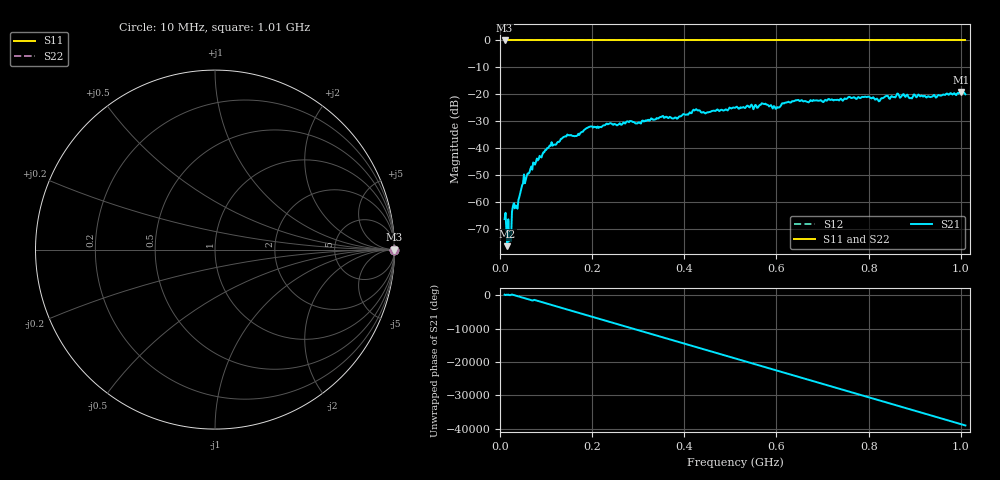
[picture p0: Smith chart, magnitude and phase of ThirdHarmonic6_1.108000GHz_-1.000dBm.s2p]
! 8/16/2025 10:30:50 AM
! C:\ANRITSUVNA\TEMP\TEMP.S2P
! CHANNEL.1
! TR.MEASUREMENT
! RAW.DATA
! RF.CORRECTION.OFF
! AVERAGING.OFF
! IF.BANDWIDTH: 5KHZ
! SWEEPTYPE:  FREQ.SWEEP(Linear)
! Reference Plane Port Info
! PORT:  PORT1  PORT2
! DISTANCE:  0  m  0  m
! TIME:  0  s  0  s
! PHASE.OFFSET:  0  deg.  0  deg.
! LOSS:  0  dB  0  dB
! REF.LOSS:  0  dB  0  dB
! REF.FREQ:  0  Hz  0  Hz
! Power Info
! POWER:  -20  dBm  -20  dBm
! EFF.POWER:  -20  dBm  -20  dBm
! SOURCE.ATTEN:  0  dB  0  dB
! TEST.ATTEN:  0  dB  0  dB
# GHZ S RI R 50.0
! FREQ.GHZ  S11RE  S11IM  S21RE  S21IM  S12RE  S12IM  S22RE  S22IM
!; PortSelection: Port_12
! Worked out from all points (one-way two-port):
!   501 points, 10 MHz to 1.01 GHz, reference 50 ohm
!   highest |S21| = -19.05 dB at 1 GHz (marker M1); lowest = -76.2 dB at 16 MHz (marker M2)
!   lowest |S11| = 0.0 dB at 10 MHz (marker M3)
!   |S11| at or under -10 dB: nowhere
!   |S22| runs from 0.0 to 0.0 dB; largest |S21 - S12| = 1.1
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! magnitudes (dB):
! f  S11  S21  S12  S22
! 10 MHz  0.0  -66.1  0.0  0.0
! 16 MHz  0.0  -76.2  0.0  0.0
! 20 MHz  0.0  -74.3  0.0  0.0
! 30 MHz  0.0  -60.3  0.0  0.0
! 36 MHz  0.0  -61.6  0.0  0.0
! 48 MHz  0.0  -53.7  0.0  0.0
! 76 MHz  0.0  -46.0  0.0  0.0
! 108 MHz  0.0  -38.9  0.0  0.0
! 178 MHz  0.0  -33.8  0.0  0.0
! 196 MHz  0.0  -31.9  0.0  0.0
! 344 MHz  0.0  -28.9  0.0  0.0
! 382 MHz  0.0  -28.6  0.0  0.0
! 422 MHz  0.0  -25.9  0.0  0.0
! 448 MHz  0.0  -26.8  0.0  0.0
! 510 MHz  0.0  -25.0  0.0  0.0
! 572 MHz  0.0  -23.5  0.0  0.0
! 602 MHz  0.0  -24.7  0.0  0.0
! 644 MHz  0.0  -22.2  0.0  0.0
! 678 MHz  0.0  -22.5  0.0  0.0
! 844 MHz  0.0  -21.4  0.0  0.0
! 1 GHz  0.0  -19.1  0.0  0.0
! 1.01 GHz  0.0  -20.0  0.0  0.0
